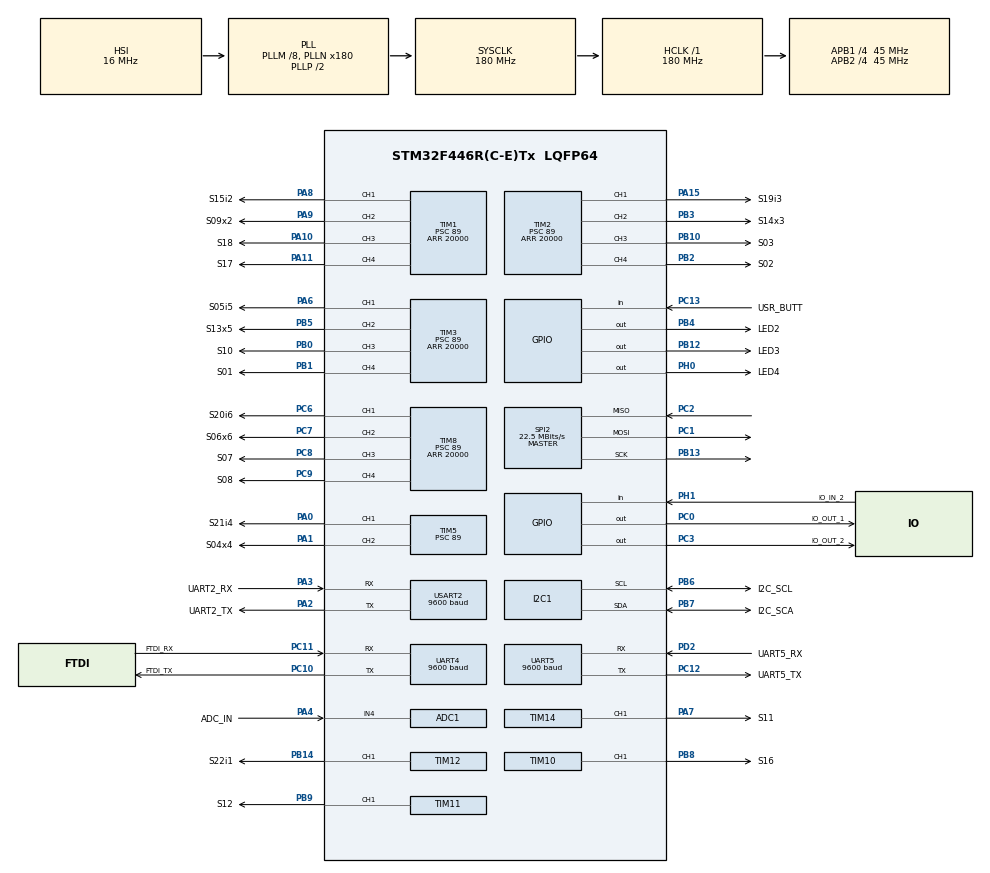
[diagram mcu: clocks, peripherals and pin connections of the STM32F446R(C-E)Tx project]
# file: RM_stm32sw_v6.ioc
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ADC1.Channel-0\#ChannelRegularConversion=ADC_CHANNEL_4
ADC1.NbrOfConversionFlag=1
ADC1.Rank-0\#ChannelRegularConversion=1
ADC1.SamplingTime-0\#ChannelRegularConversion=ADC_SAMPLETIME_3CYCLES
ADC1.master=1
Dma.Request0=USART2_RX
Dma.Request1=USART2_TX
Dma.Request2=UART4_RX
Dma.Request3=UART4_TX
Dma.Request4=UART5_RX
Dma.Request5=UART5_TX
Dma.Request6=SPI2_RX
Dma.SPI2_RX.6.Direction=DMA_PERIPH_TO_MEMORY
Dma.SPI2_RX.6.FIFOMode=DMA_FIFOMODE_DISABLE
Dma.SPI2_RX.6.Instance=DMA1_Stream3
Dma.SPI2_RX.6.MemDataAlignment=DMA_MDATAALIGN_BYTE
Dma.SPI2_RX.6.MemInc=DMA_MINC_ENABLE
Dma.SPI2_RX.6.Mode=DMA_NORMAL
Dma.SPI2_RX.6.PeriphDataAlignment=DMA_PDATAALIGN_BYTE
Dma.SPI2_RX.6.PeriphInc=DMA_PINC_DISABLE
Dma.SPI2_RX.6.Priority=DMA_PRIORITY_LOW
Dma.UART4_RX.2.Direction=DMA_PERIPH_TO_MEMORY
Dma.UART4_RX.2.FIFOMode=DMA_FIFOMODE_DISABLE
Dma.UART4_RX.2.Instance=DMA1_Stream2
Dma.UART4_RX.2.MemDataAlignment=DMA_MDATAALIGN_BYTE
Dma.UART4_RX.2.MemInc=DMA_MINC_ENABLE
Dma.UART4_RX.2.Mode=DMA_NORMAL
Dma.UART4_RX.2.PeriphDataAlignment=DMA_PDATAALIGN_BYTE
Dma.UART4_RX.2.PeriphInc=DMA_PINC_DISABLE
Dma.UART4_RX.2.Priority=DMA_PRIORITY_LOW
Dma.UART4_TX.3.Direction=DMA_MEMORY_TO_PERIPH
Dma.UART4_TX.3.FIFOMode=DMA_FIFOMODE_DISABLE
Dma.UART4_TX.3.Instance=DMA1_Stream4
Dma.UART4_TX.3.MemDataAlignment=DMA_MDATAALIGN_BYTE
Dma.UART4_TX.3.MemInc=DMA_MINC_ENABLE
Dma.UART4_TX.3.Mode=DMA_NORMAL
Dma.UART4_TX.3.PeriphDataAlignment=DMA_PDATAALIGN_BYTE
Dma.UART4_TX.3.PeriphInc=DMA_PINC_DISABLE
Dma.UART4_TX.3.Priority=DMA_PRIORITY_LOW
Dma.UART5_RX.4.Direction=DMA_PERIPH_TO_MEMORY
Dma.UART5_RX.4.FIFOMode=DMA_FIFOMODE_DISABLE
Dma.UART5_RX.4.Instance=DMA1_Stream0
Dma.UART5_RX.4.MemDataAlignment=DMA_MDATAALIGN_BYTE
Dma.UART5_RX.4.MemInc=DMA_MINC_ENABLE
Dma.UART5_RX.4.Mode=DMA_NORMAL
Dma.UART5_RX.4.PeriphDataAlignment=DMA_PDATAALIGN_BYTE
Dma.UART5_RX.4.PeriphInc=DMA_PINC_DISABLE
Dma.UART5_RX.4.Priority=DMA_PRIORITY_LOW
Dma.UART5_TX.5.Direction=DMA_MEMORY_TO_PERIPH
Dma.UART5_TX.5.FIFOMode=DMA_FIFOMODE_DISABLE
Dma.UART5_TX.5.Instance=DMA1_Stream7
Dma.UART5_TX.5.MemDataAlignment=DMA_MDATAALIGN_BYTE
Dma.UART5_TX.5.MemInc=DMA_MINC_ENABLE
Dma.UART5_TX.5.Mode=DMA_NORMAL
Dma.UART5_TX.5.PeriphDataAlignment=DMA_PDATAALIGN_BYTE
Dma.UART5_TX.5.PeriphInc=DMA_PINC_DISABLE
Dma.UART5_TX.5.Priority=DMA_PRIORITY_LOW
Dma.USART2_RX.0.Direction=DMA_PERIPH_TO_MEMORY
Dma.USART2_RX.0.FIFOMode=DMA_FIFOMODE_DISABLE
Dma.USART2_RX.0.Instance=DMA1_Stream5
Dma.USART2_RX.0.MemDataAlignment=DMA_MDATAALIGN_BYTE
Dma.USART2_RX.0.MemInc=DMA_MINC_ENABLE
Dma.USART2_RX.0.Mode=DMA_NORMAL
Dma.USART2_RX.0.PeriphDataAlignment=DMA_PDATAALIGN_BYTE
Dma.USART2_RX.0.PeriphInc=DMA_PINC_DISABLE
Dma.USART2_RX.0.Priority=DMA_PRIORITY_LOW
Dma.USART2_TX.1.Direction=DMA_MEMORY_TO_PERIPH
Dma.USART2_TX.1.FIFOMode=DMA_FIFOMODE_DISABLE
Dma.USART2_TX.1.Instance=DMA1_Stream6
Dma.USART2_TX.1.MemDataAlignment=DMA_MDATAALIGN_BYTE
Dma.USART2_TX.1.MemInc=DMA_MINC_ENABLE
Dma.USART2_TX.1.Mode=DMA_NORMAL
Dma.USART2_TX.1.PeriphDataAlignment=DMA_PDATAALIGN_BYTE
Dma.USART2_TX.1.PeriphInc=DMA_PINC_DISABLE
Dma.USART2_TX.1.Priority=DMA_PRIORITY_LOW
Mcu.Family=STM32F4
Mcu.Name=STM32F446R(C-E)Tx
Mcu.Package=LQFP64
NVIC.DMA1_Stream0_IRQn=true\:0\:0\:false\:false\:true\:false\:true
NVIC.DMA1_Stream2_IRQn=true\:0\:0\:false\:false\:true\:false\:true
NVIC.DMA1_Stream3_IRQn=true\:0\:0\:false\:false\:true\:false\:true
NVIC.DMA1_Stream4_IRQn=true\:0\:0\:false\:false\:true\:false\:true
NVIC.DMA1_Stream5_IRQn=true\:0\:0\:false\:false\:true\:false\:true
NVIC.DMA1_Stream6_IRQn=true\:0\:0\:false\:false\:true\:false\:true
NVIC.DMA1_Stream7_IRQn=true\:0\:0\:false\:false\:true\:false\:true
NVIC.PriorityGroup=NVIC_PRIORITYGROUP_4
NVIC.TIM8_UP_TIM13_IRQn=true\:0\:0\:false\:false\:true\:true\:true
NVIC.UART4_IRQn=true\:0\:0\:false\:false\:true\:true\:true
NVIC.USART2_IRQn=true\:0\:0\:false\:false\:true\:true\:true
PA0-WKUP.GPIO_Label=S21i4
PA0-WKUP.Signal=S_TIM5_CH1
PA1.GPIO_Label=S04x4
PA1.Signal=S_TIM5_CH2
PA10.GPIO_Label=S18
PA10.Signal=S_TIM1_CH3
PA11.GPIO_Label=S17
PA11.Signal=S_TIM1_CH4
PA13.GPIO_Label=SWDIO
PA13.Mode=Serial_Wire
PA13.Signal=SYS_JTMS-SWDIO
PA14.GPIO_Label=SWCLK
PA14.Mode=Serial_Wire
PA14.Signal=SYS_JTCK-SWCLK
PA15.GPIO_Label=S19i3
PA15.Signal=S_TIM2_CH1_ETR
PA2.GPIO_Label=UART2_TX
PA2.Mode=Asynchronous
PA2.Signal=USART2_TX
PA3.GPIO_Label=UART2_RX
PA3.Mode=Asynchronous
PA3.Signal=USART2_RX
PA4.GPIO_Label=ADC_IN
PA4.Signal=SharedAnalog_PA4
PA6.GPIO_Label=S05i5
PA6.Signal=S_TIM3_CH1
PA7.GPIO_Label=S11
PA7.Signal=S_TIM14_CH1
PA8.GPIO_Label=S15i2
PA8.Signal=S_TIM1_CH1
PA9.GPIO_Label=S09x2
PA9.Signal=S_TIM1_CH2
PB0.GPIO_Label=S10
PB0.Signal=S_TIM3_CH3
PB1.GPIO_Label=S01
PB1.Signal=S_TIM3_CH4
PB10.GPIO_Label=S03
PB10.Signal=S_TIM2_CH3
PB12.GPIO_Label=LED3
PB12.Signal=GPIO_Output
PB13.Mode=Full_Duplex_Master
PB13.Signal=SPI2_SCK
PB14.GPIO_Label=S22i1
PB14.Signal=S_TIM12_CH1
PB2.GPIO_Label=S02
PB2.Signal=S_TIM2_CH4
PB3.GPIO_Label=S14x3
PB3.Signal=S_TIM2_CH2
PB4.GPIO_Label=LED2
PB4.Signal=GPIO_Output
PB5.GPIO_Label=S13x5
PB5.Signal=S_TIM3_CH2
PB6.GPIO_Label=I2C_SCL
PB6.Mode=I2C
PB6.Signal=I2C1_SCL
PB7.GPIO_Label=I2C_SCA
PB7.Mode=I2C
PB7.Signal=I2C1_SDA
PB8.GPIO_Label=S16
PB8.Signal=S_TIM10_CH1
PB9.GPIO_Label=S12
PB9.Signal=S_TIM11_CH1
PC0.GPIO_Label=IO_OUT_1
PC0.Signal=GPIO_Output
PC1.Mode=Full_Duplex_Master
PC1.Signal=SPI2_MOSI
PC10.GPIO_Label=FTDI_TX
PC10.Mode=Asynchronous
PC10.Signal=UART4_TX
PC11.GPIO_Label=FTDI_RX
PC11.Mode=Asynchronous
PC11.Signal=UART4_RX
PC12.GPIO_Label=UART5_TX
PC12.Mode=Asynchronous
PC12.Signal=UART5_TX
PC13.GPIO_Label=USR_BUTT
PC13.Signal=GPIO_Input
PC14-OSC32_IN.GPIO_Label=OSC_IN
PC14-OSC32_IN.Signal=RCC_OSC32_IN
PC15-OSC32_OUT.GPIO_Label=OSC_OUT
PC15-OSC32_OUT.Signal=RCC_OSC32_OUT
PC2.Mode=Full_Duplex_Master
PC2.Signal=SPI2_MISO
PC3.GPIO_Label=IO_OUT_2
PC3.Signal=GPIO_Output
PC6.GPIO_Label=S20i6
PC6.Signal=S_TIM8_CH1
PC7.GPIO_Label=S06x6
PC7.Signal=S_TIM8_CH2
PC8.GPIO_Label=S07
PC8.Signal=S_TIM8_CH3
PC9.GPIO_Label=S08
PC9.Signal=S_TIM8_CH4
PD2.GPIO_Label=UART5_RX
PD2.Mode=Asynchronous
PD2.Signal=UART5_RX
PH0-OSC_IN.GPIO_Label=LED4
PH0-OSC_IN.Signal=GPIO_Output
PH1-OSC_OUT.GPIO_Label=IO_IN_2
PH1-OSC_OUT.Signal=GPIO_Input
ProjectManager.HeapSize=0x200
ProjectManager.StackSize=0x400
ProjectManager.TargetToolchain=TrueSTUDIO
RCC.AHBFreq_Value=180000000
RCC.APB1CLKDivider=RCC_HCLK_DIV4
RCC.APB1Freq_Value=45000000
RCC.APB1TimFreq_Value=90000000
RCC.APB2CLKDivider=RCC_HCLK_DIV4
RCC.APB2Freq_Value=45000000
RCC.APB2TimFreq_Value=90000000
RCC.CortexFreq_Value=180000000
RCC.HCLKFreq_Value=180000000
RCC.PLLM=8
RCC.PLLN=180
RCC.SYSCLKFreq_VALUE=180000000
RCC.SYSCLKSource=RCC_SYSCLKSOURCE_PLLCLK
RCC.USBFreq_Value=180000000
RCC.VCOOutputFreq_Value=360000000
SH.S_TIM10_CH1.0=TIM10_CH1,PWM Generation1 CH1
SH.S_TIM11_CH1.0=TIM11_CH1,PWM Generation1 CH1
SH.S_TIM12_CH1.0=TIM12_CH1,PWM Generation1 CH1
SH.S_TIM14_CH1.0=TIM14_CH1,PWM Generation1 CH1
SH.S_TIM1_CH1.0=TIM1_CH1,PWM Generation1 CH1
SH.S_TIM1_CH2.0=TIM1_CH2,PWM Generation2 CH2
SH.S_TIM1_CH3.0=TIM1_CH3,PWM Generation3 CH3
SH.S_TIM1_CH4.0=TIM1_CH4,PWM Generation4 CH4
SH.S_TIM2_CH1_ETR.0=TIM2_CH1,PWM Generation1 CH1
SH.S_TIM2_CH2.0=TIM2_CH2,PWM Generation2 CH2
SH.S_TIM2_CH3.0=TIM2_CH3,PWM Generation3 CH3
SH.S_TIM2_CH4.0=TIM2_CH4,PWM Generation4 CH4
SH.S_TIM3_CH1.0=TIM3_CH1,PWM Generation1 CH1
SH.S_TIM3_CH2.0=TIM3_CH2,PWM Generation2 CH2
SH.S_TIM3_CH3.0=TIM3_CH3,PWM Generation3 CH3
SH.S_TIM3_CH4.0=TIM3_CH4,PWM Generation4 CH4
SH.S_TIM5_CH1.0=TIM5_CH1,PWM Generation1 CH1
SH.S_TIM5_CH2.0=TIM5_CH2,PWM Generation2 CH2
SH.S_TIM8_CH1.0=TIM8_CH1,PWM Generation1 CH1
SH.S_TIM8_CH2.0=TIM8_CH2,PWM Generation2 CH2
SH.S_TIM8_CH3.0=TIM8_CH3,PWM Generation3 CH3
SH.S_TIM8_CH4.0=TIM8_CH4,PWM Generation4 CH4
SH.SharedAnalog_PA4.0=GPIO_Analog
SH.SharedAnalog_PA4.1=ADC1_IN4,IN4
SPI2.BaudRatePrescaler=SPI_BAUDRATEPRESCALER_2
SPI2.CalculateBaudRate=22.5 MBits/s
SPI2.Direction=SPI_DIRECTION_2LINES
SPI2.Mode=SPI_MODE_MASTER
SPI2.VirtualType=VM_MASTER
TIM1.Channel-PWM\ Generation1\ CH1=TIM_CHANNEL_1
TIM1.Channel-PWM\ Generation2\ CH2=TIM_CHANNEL_2
TIM1.Channel-PWM\ Generation3\ CH3=TIM_CHANNEL_3
TIM1.Channel-PWM\ Generation4\ CH4=TIM_CHANNEL_4
TIM1.Period=20000
TIM1.Prescaler=89
TIM1.Pulse-PWM\ Generation1\ CH1=1500
TIM1.Pulse-PWM\ Generation2\ CH2=1500
TIM1.Pulse-PWM\ Generation3\ CH3=1500
TIM1.Pulse-PWM\ Generation4\ CH4=1500
TIM10.Channel=TIM_CHANNEL_1
TIM10.Period=20000
TIM10.Prescaler=89
TIM10.Pulse=1500
TIM11.Channel=TIM_CHANNEL_1
TIM11.Period=20000
TIM11.Prescaler=89
TIM11.Pulse=1500
TIM12.Channel-PWM\ Generation1\ CH1=TIM_CHANNEL_1
TIM13.Period=20000
TIM13.Prescaler=89
TIM14.Channel=TIM_CHANNEL_1
TIM14.Period=20000
TIM14.Prescaler=89
TIM14.Pulse=1500
TIM2.Channel-PWM\ Generation1\ CH1=TIM_CHANNEL_1
TIM2.Channel-PWM\ Generation2\ CH2=TIM_CHANNEL_2
TIM2.Channel-PWM\ Generation3\ CH3=TIM_CHANNEL_3
TIM2.Channel-PWM\ Generation4\ CH4=TIM_CHANNEL_4
TIM2.Period=20000
TIM2.Prescaler=89
TIM2.Pulse-PWM\ Generation1\ CH1=1500
TIM2.Pulse-PWM\ Generation2\ CH2=1500
TIM2.Pulse-PWM\ Generation3\ CH3=1500
TIM2.Pulse-PWM\ Generation4\ CH4=1500
TIM3.Channel-PWM\ Generation1\ CH1=TIM_CHANNEL_1
TIM3.Channel-PWM\ Generation2\ CH2=TIM_CHANNEL_2
TIM3.Channel-PWM\ Generation3\ CH3=TIM_CHANNEL_3
TIM3.Channel-PWM\ Generation4\ CH4=TIM_CHANNEL_4
TIM3.Period=20000
TIM3.Prescaler=89
TIM3.Pulse-PWM\ Generation1\ CH1=1500
TIM3.Pulse-PWM\ Generation2\ CH2=1500
TIM3.Pulse-PWM\ Generation3\ CH3=1500
TIM3.Pulse-PWM\ Generation4\ CH4=1500
TIM5.Channel-PWM\ Generation1\ CH1=TIM_CHANNEL_1
TIM5.Channel-PWM\ Generation2\ CH2=TIM_CHANNEL_2
TIM5.Period=20000
TIM5.Prescaler=89
TIM5.Pulse-PWM\ Generation1\ CH1=1500
TIM5.Pulse-PWM\ Generation2\ CH2=1500
TIM8.Channel-PWM\ Generation1\ CH1=TIM_CHANNEL_1
TIM8.Channel-PWM\ Generation2\ CH2=TIM_CHANNEL_2
TIM8.Channel-PWM\ Generation3\ CH3=TIM_CHANNEL_3
TIM8.Channel-PWM\ Generation4\ CH4=TIM_CHANNEL_4
TIM8.Period=20000
TIM8.Prescaler=89
TIM8.Pulse-PWM\ Generation1\ CH1=1500
TIM8.Pulse-PWM\ Generation2\ CH2=1500
TIM8.Pulse-PWM\ Generation3\ CH3=1500
TIM8.Pulse-PWM\ Generation4\ CH4=1500
UART4.BaudRate=9600
UART4.VirtualMode=Asynchronous
UART5.BaudRate=9600
UART5.VirtualMode=Asynchronous
USART2.BaudRate=9600
USART2.VirtualMode=VM_ASYNC
VP_RTC_VS_RTC_Activate.Mode=RTC_Enabled
VP_TIM10_VS_ClockSourceINT.Mode=Enable_Timer
VP_TIM11_VS_ClockSourceINT.Mode=Enable_Timer
VP_TIM12_VS_ClockSourceINT.Mode=Internal
VP_TIM13_VS_ClockSourceINT.Mode=Enable_Timer
VP_TIM14_VS_ClockSourceINT.Mode=Enable_Timer
VP_TIM1_VS_ClockSourceINT.Mode=Internal
VP_TIM2_VS_ClockSourceINT.Mode=Internal
VP_TIM3_VS_ClockSourceINT.Mode=Internal
VP_TIM8_VS_ClockSourceINT.Mode=Internal
board=custom

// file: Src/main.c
/* USER CODE BEGIN Header */
/**
  ******************************************************************************
  * @file           : main.c
  * @brief          : Main program body
  ******************************************************************************
  * @attention
  *
  * <h2><center>&copy; Copyright (c) 2020 STMicroelectronics.
  * All rights reserved.</center></h2>
  *
  * This software component is licensed by ST under BSD 3-Clause license,
  * the "License"; You may not use this file except in compliance with the
  * License. You may obtain a copy of the License at:
  *                        opensource.org/licenses/BSD-3-Clause
  *
  ******************************************************************************
  */
/* USER CODE END Header */

#include "main.h"

/* USER CODE BEGIN Includes */
#include <stdio.h>
#include <math.h>
#include "serial.h"
#include "tools.h"
#include "servo.h"
#include "leg.h"
#include "robot.h"
#include <robot_commands.h>
#include "robot_update.h"
/* USER CODE END Includes */

ADC_HandleTypeDef hadc1;

I2C_HandleTypeDef hi2c1;

RTC_HandleTypeDef hrtc;

SPI_HandleTypeDef hspi2;
DMA_HandleTypeDef hdma_spi2_rx;

TIM_HandleTypeDef htim1;
TIM_HandleTypeDef htim2;
TIM_HandleTypeDef htim3;
TIM_HandleTypeDef htim5;
TIM_HandleTypeDef htim8;
TIM_HandleTypeDef htim10;
TIM_HandleTypeDef htim11;
TIM_HandleTypeDef htim12;
TIM_HandleTypeDef htim13;
TIM_HandleTypeDef htim14;

UART_HandleTypeDef huart4;
UART_HandleTypeDef huart5;
UART_HandleTypeDef huart2;
DMA_HandleTypeDef hdma_uart4_rx;
DMA_HandleTypeDef hdma_uart4_tx;
DMA_HandleTypeDef hdma_uart5_rx;
DMA_HandleTypeDef hdma_uart5_tx;
DMA_HandleTypeDef hdma_usart2_rx;
DMA_HandleTypeDef hdma_usart2_tx;

/* USER CODE BEGIN PV */
HAL_Serial_Handler CMD_hserial;
HAL_LineBuffer_Handler CMD_hlinebuffer;

/* USER CODE END PV */

void SystemClock_Config(void);
static void MX_GPIO_Init(void);
static void MX_DMA_Init(void);
static void MX_ADC1_Init(void);
static void MX_I2C1_Init(void);
static void MX_RTC_Init(void);
static void MX_SPI2_Init(void);
static void MX_TIM1_Init(void);
static void MX_TIM2_Init(void);
static void MX_TIM3_Init(void);
static void MX_TIM5_Init(void);
static void MX_TIM8_Init(void);
static void MX_TIM10_Init(void);
static void MX_TIM11_Init(void);
static void MX_TIM12_Init(void);
static void MX_TIM14_Init(void);
static void MX_UART4_Init(void);
static void MX_UART5_Init(void);
static void MX_USART2_UART_Init(void);
static void MX_TIM13_Init(void);

/******************************************************************************
  * @brief  The application entry point.
  * @retval int
  */
int main(void)
{
  /* USER CODE BEGIN 1 */
  int i,j;
  int len;
  char cmd_line[64];
  char outbuf[64];

  /* USER CODE END 1 */

  /* MCU Configuration--------------------------------------------------------*/

  /* Reset of all peripherals, Initializes the Flash interface and the Systick. */
  HAL_Init();

  /* Configure the system clock */
  SystemClock_Config();

  /* Initialize all configured peripherals */
  MX_GPIO_Init();
  MX_DMA_Init();
  MX_ADC1_Init();
  MX_I2C1_Init();
  MX_RTC_Init();
  MX_SPI2_Init();
  MX_TIM1_Init();
  MX_TIM2_Init();
  MX_TIM3_Init();
  MX_TIM5_Init();
  MX_TIM8_Init();
  MX_TIM10_Init();
  MX_TIM11_Init();
  MX_TIM12_Init();
  MX_TIM14_Init();
  MX_UART4_Init();
  MX_UART5_Init();
  MX_USART2_UART_Init();
  MX_TIM13_Init();
  /* USER CODE BEGIN 2 */

  LedSwitch(2, 0);
  LedSwitch(3, 0);
  LedSwitch(4, 0);

  // uart4 = FTDI
  // uart2 = BT
  HAL_Serial_Init(&huart2, &CMD_hserial);
  HAL_LineBuffer_Init(&CMD_hlinebuffer, &CMD_hserial);

  Robot_Init();
  robot.debug_hserial=&CMD_hserial; // serial handler for debug messages

  HAL_Serial_Print(&CMD_hserial, "****************** Init done\n");

  HAL_TIM_Base_Start(&htim1);
  HAL_TIM_Base_Start(&htim2);
  HAL_TIM_Base_Start(&htim3);
  HAL_TIM_Base_Start(&htim5);
  HAL_TIM_Base_Start(&htim8);
  HAL_TIM_Base_Start(&htim10);
  HAL_TIM_Base_Start(&htim11);
  HAL_TIM_Base_Start(&htim14);

  HAL_TIM_Base_Start_IT(&htim13);

//  Robot_Unfold(); // activate servo pulse and unfold legs

  HAL_Serial_Print(robot.debug_hserial, "Ax=%f\n", robot.mech_Ax);
  HAL_Serial_Print(robot.debug_hserial, "Bx=%f By=%f\n", robot.mech_Bx, robot.mech_By);
  HAL_Serial_Print(robot.debug_hserial, "Gx=%f Gy=%f\n", robot.mech_Gx, robot.mech_Gy);
  HAL_Serial_Print(robot.debug_hserial, "Cycletravel_x=%f\n", robot.cycletravel_x);
  HAL_Serial_Print(robot.debug_hserial, "Leg[0] %s : x=%f, y=%f, z=%f\n", robot.hlegs[0]->label, robot.hlegs[0]->current_x, robot.hlegs[0]->current_y, robot.hlegs[0]->current_z);
  HAL_Serial_Print(robot.debug_hserial, "Leg[1] %s : x=%f, y=%f, z=%f\n", robot.hlegs[1]->label, robot.hlegs[1]->current_x, robot.hlegs[1]->current_y, robot.hlegs[1]->current_z);
  HAL_Serial_Print(robot.debug_hserial, "Leg[2] %s : x=%f, y=%f, z=%f\n", robot.hlegs[2]->label, robot.hlegs[2]->current_x, robot.hlegs[2]->current_y, robot.hlegs[2]->current_z);
  HAL_Serial_Print(robot.debug_hserial, "Leg[2] %s : x=%f, y=%f, z=%f\n", robot.hlegs[3]->label, robot.hlegs[3]->current_x, robot.hlegs[3]->current_y, robot.hlegs[3]->current_z);
  HAL_Serial_Print(robot.debug_hserial, "Curv_max=%f\n", robot.mech_curv_max);

  i=0;
  robot.state=FOLDED;

  /* USER CODE END 2 */

  /* Infinite loop */
  /* USER CODE BEGIN WHILE */
  while (1)
  {
    //Robot_Update();
    //* Check USR button ************************
    if(HAL_GPIO_ReadPin(USR_BUTT_GPIO_Port,USR_BUTT_Pin)==GPIO_PIN_RESET)
    {
      while(HAL_GPIO_ReadPin(USR_BUTT_GPIO_Port,USR_BUTT_Pin)==GPIO_PIN_RESET)
      {
        // wait until button release
      }
      HAL_Delay(100);
      Robot_ButtonPushed();
      HAL_Serial_Print(&CMD_hserial, "%s\n", Robot_GetState());
    }

    //* Read commands *****************
    if((len=HAL_LineBuffer_Read(&CMD_hlinebuffer, cmd_line, sizeof(cmd_line))) > 0)
    {
      HAL_Serial_Write(CMD_hlinebuffer.hserial, (uint8_t*)outbuf, sprintf(outbuf, "<%s>\n", cmd_line));
      // interpret command
      Robot_ReadCommand(CMD_hlinebuffer.hserial, cmd_line);
      HAL_Serial_Print(&CMD_hserial, "%s\n", Robot_GetState());
    }

    HAL_Delay(200);
    HAL_GPIO_TogglePin(LED2_GPIO_Port, LED2_Pin);
    i++;
    if(i>=5)
    {
      //HAL_Serial_Print(robot.debug_hserial, "Robot state=%s speed=%d curv=%d\n", Robot_GetState(), (int)robot.current_speed, (int)(robot.current_curv*1000000));
      if(robot.state == RUNNING)
      {
        HAL_Serial_Print(robot.debug_hserial, "Return leg %s\n", robot.hlegs[ROBOT_NBLEGS-1]->label);
        HAL_Serial_Print(robot.debug_hserial, "Leg[0] : %s x=%f, y=%f, z=%f\n", robot.hlegs_rtab[0]->label, robot.hlegs_rtab[0]->current_x, robot.hlegs_rtab[0]->current_y, robot.hlegs_rtab[0]->current_z);
        HAL_Serial_Print(robot.debug_hserial, "Leg[1] : %s x=%f, y=%f, z=%f\n", robot.hlegs_rtab[1]->label, robot.hlegs_rtab[1]->current_x, robot.hlegs_rtab[1]->current_y, robot.hlegs_rtab[1]->current_z);
        HAL_Serial_Print(robot.debug_hserial, "Leg[2] : %s x=%f, y=%f, z=%f\n", robot.hlegs_rtab[2]->label, robot.hlegs_rtab[2]->current_x, robot.hlegs_rtab[2]->current_y, robot.hlegs_rtab[2]->current_z);
        HAL_Serial_Print(robot.debug_hserial, "Leg[3] : %s x=%f, y=%f, z=%f\n", robot.hlegs_rtab[3]->label, robot.hlegs_rtab[3]->current_x, robot.hlegs_rtab[3]->current_y, robot.hlegs_rtab[3]->current_z);
        HAL_Serial_Print(robot.debug_hserial, "Dr=%f\n", robot.mech_Bx-robot.hlegs[ROBOT_NBLEGS-2]->current_x);
        HAL_Serial_Print(robot.debug_hserial, "d=%f\n", robot.current_speed*SERVO_PULSE_PERIOD);
        HAL_Serial_Print(robot.debug_hserial, "Total steps %d\n", robot.steps_before_return);
        HAL_Serial_Print(robot.debug_hserial, "Remaining steps %d\n", robot.remsteps_before_return);
        // DEBUG 200521 : watch returning leg height
        HAL_Serial_Print(robot.debug_hserial, "ret leg height %f\n", robot.ret_dz);

      }
      i=0;
    }
    /* USER CODE END WHILE */

  }
}

void SystemClock_Config(void)
{
  RCC_OscInitTypeDef RCC_OscInitStruct = {0};
  RCC_ClkInitTypeDef RCC_ClkInitStruct = {0};
  RCC_PeriphCLKInitTypeDef PeriphClkInitStruct = {0};

  /** Configure the main internal regulator output voltage
  */
  __HAL_RCC_PWR_CLK_ENABLE();
  __HAL_PWR_VOLTAGESCALING_CONFIG(PWR_REGULATOR_VOLTAGE_SCALE1);
  /** Initializes the CPU, AHB and APB busses clocks
  */
  RCC_OscInitStruct.OscillatorType = RCC_OSCILLATORTYPE_HSI|RCC_OSCILLATORTYPE_LSI;
  RCC_OscInitStruct.LSEState = RCC_LSE_OFF;
  RCC_OscInitStruct.HSIState = RCC_HSI_ON;
  RCC_OscInitStruct.HSICalibrationValue = RCC_HSICALIBRATION_DEFAULT;
  RCC_OscInitStruct.LSIState = RCC_LSI_ON;
  RCC_OscInitStruct.PLL.PLLState = RCC_PLL_ON;
  RCC_OscInitStruct.PLL.PLLSource = RCC_PLLSOURCE_HSI;
  RCC_OscInitStruct.PLL.PLLM = 8;
  RCC_OscInitStruct.PLL.PLLN = 180;
  RCC_OscInitStruct.PLL.PLLP = RCC_PLLP_DIV2;
  RCC_OscInitStruct.PLL.PLLQ = 2;
  RCC_OscInitStruct.PLL.PLLR = 2;
  if (HAL_RCC_OscConfig(&RCC_OscInitStruct) != HAL_OK)
  {
    Error_Handler();
  }
  /** Activate the Over-Drive mode
  */
  if (HAL_PWREx_EnableOverDrive() != HAL_OK)
  {
    Error_Handler();
  }
  /** Initializes the CPU, AHB and APB busses clocks
  */
  RCC_ClkInitStruct.ClockType = RCC_CLOCKTYPE_HCLK|RCC_CLOCKTYPE_SYSCLK
                              |RCC_CLOCKTYPE_PCLK1|RCC_CLOCKTYPE_PCLK2;
  RCC_ClkInitStruct.SYSCLKSource = RCC_SYSCLKSOURCE_PLLCLK;
  RCC_ClkInitStruct.AHBCLKDivider = RCC_SYSCLK_DIV1;
  RCC_ClkInitStruct.APB1CLKDivider = RCC_HCLK_DIV4;
  RCC_ClkInitStruct.APB2CLKDivider = RCC_HCLK_DIV4;

  if (HAL_RCC_ClockConfig(&RCC_ClkInitStruct, FLASH_LATENCY_5) != HAL_OK)
  {
    Error_Handler();
  }
  PeriphClkInitStruct.PeriphClockSelection = RCC_PERIPHCLK_RTC;
  PeriphClkInitStruct.RTCClockSelection = RCC_RTCCLKSOURCE_LSI;
  if (HAL_RCCEx_PeriphCLKConfig(&PeriphClkInitStruct) != HAL_OK)
  {
    Error_Handler();
  }
}

static void MX_ADC1_Init(void)
{

  ADC_ChannelConfTypeDef sConfig = {0};

  /** Configure the global features of the ADC (Clock, Resolution, Data Alignment and number of conversion)
  */
  hadc1.Instance = ADC1;
  hadc1.Init.ClockPrescaler = ADC_CLOCK_SYNC_PCLK_DIV2;
  hadc1.Init.Resolution = ADC_RESOLUTION_12B;
  hadc1.Init.ScanConvMode = DISABLE;
  hadc1.Init.ContinuousConvMode = DISABLE;
  hadc1.Init.DiscontinuousConvMode = DISABLE;
  hadc1.Init.ExternalTrigConvEdge = ADC_EXTERNALTRIGCONVEDGE_NONE;
  hadc1.Init.ExternalTrigConv = ADC_SOFTWARE_START;
  hadc1.Init.DataAlign = ADC_DATAALIGN_RIGHT;
  hadc1.Init.NbrOfConversion = 1;
  hadc1.Init.DMAContinuousRequests = DISABLE;
  hadc1.Init.EOCSelection = ADC_EOC_SINGLE_CONV;
  if (HAL_ADC_Init(&hadc1) != HAL_OK)
  {
    Error_Handler();
  }
  /** Configure for the selected ADC regular channel its corresponding rank in the sequencer and its sample time.
  */
  sConfig.Channel = ADC_CHANNEL_4;
  sConfig.Rank = 1;
  sConfig.SamplingTime = ADC_SAMPLETIME_3CYCLES;
  if (HAL_ADC_ConfigChannel(&hadc1, &sConfig) != HAL_OK)
  {
    Error_Handler();
  }

}

static void MX_I2C1_Init(void)
{

  hi2c1.Instance = I2C1;
  hi2c1.Init.ClockSpeed = 100000;
  hi2c1.Init.DutyCycle = I2C_DUTYCYCLE_2;
  hi2c1.Init.OwnAddress1 = 0;
  hi2c1.Init.AddressingMode = I2C_ADDRESSINGMODE_7BIT;
  hi2c1.Init.DualAddressMode = I2C_DUALADDRESS_DISABLE;
  hi2c1.Init.OwnAddress2 = 0;
  hi2c1.Init.GeneralCallMode = I2C_GENERALCALL_DISABLE;
  hi2c1.Init.NoStretchMode = I2C_NOSTRETCH_DISABLE;
  if (HAL_I2C_Init(&hi2c1) != HAL_OK)
  {
    Error_Handler();
  }

}

static void MX_RTC_Init(void)
{

  /** Initialize RTC Only
  */
  hrtc.Instance = RTC;
  hrtc.Init.HourFormat = RTC_HOURFORMAT_24;
  hrtc.Init.AsynchPrediv = 127;
  hrtc.Init.SynchPrediv = 255;
  hrtc.Init.OutPut = RTC_OUTPUT_DISABLE;
  hrtc.Init.OutPutPolarity = RTC_OUTPUT_POLARITY_HIGH;
  hrtc.Init.OutPutType = RTC_OUTPUT_TYPE_OPENDRAIN;
  if (HAL_RTC_Init(&hrtc) != HAL_OK)
  {
    Error_Handler();
  }

}

static void MX_SPI2_Init(void)
{

  /* SPI2 parameter configuration*/
  hspi2.Instance = SPI2;
  hspi2.Init.Mode = SPI_MODE_MASTER;
  hspi2.Init.Direction = SPI_DIRECTION_2LINES;
  hspi2.Init.DataSize = SPI_DATASIZE_8BIT;
  hspi2.Init.CLKPolarity = SPI_POLARITY_LOW;
  hspi2.Init.CLKPhase = SPI_PHASE_1EDGE;
  hspi2.Init.NSS = SPI_NSS_SOFT;
  hspi2.Init.BaudRatePrescaler = SPI_BAUDRATEPRESCALER_2;
  hspi2.Init.FirstBit = SPI_FIRSTBIT_MSB;
  hspi2.Init.TIMode = SPI_TIMODE_DISABLE;
  hspi2.Init.CRCCalculation = SPI_CRCCALCULATION_DISABLE;
  hspi2.Init.CRCPolynomial = 10;
  if (HAL_SPI_Init(&hspi2) != HAL_OK)
  {
    Error_Handler();
  }

}

static void MX_TIM1_Init(void)
{

  TIM_ClockConfigTypeDef sClockSourceConfig = {0};
  TIM_MasterConfigTypeDef sMasterConfig = {0};
  TIM_OC_InitTypeDef sConfigOC = {0};
  TIM_BreakDeadTimeConfigTypeDef sBreakDeadTimeConfig = {0};

  htim1.Instance = TIM1;
  htim1.Init.Prescaler = 89;
  htim1.Init.CounterMode = TIM_COUNTERMODE_UP;
  htim1.Init.Period = 20000;
  htim1.Init.ClockDivision = TIM_CLOCKDIVISION_DIV1;
  htim1.Init.RepetitionCounter = 0;
  htim1.Init.AutoReloadPreload = TIM_AUTORELOAD_PRELOAD_DISABLE;
  if (HAL_TIM_Base_Init(&htim1) != HAL_OK)
  {
    Error_Handler();
  }
  sClockSourceConfig.ClockSource = TIM_CLOCKSOURCE_INTERNAL;
  if (HAL_TIM_ConfigClockSource(&htim1, &sClockSourceConfig) != HAL_OK)
  {
    Error_Handler();
  }
  if (HAL_TIM_PWM_Init(&htim1) != HAL_OK)
  {
    Error_Handler();
  }
  sMasterConfig.MasterOutputTrigger = TIM_TRGO_RESET;
  sMasterConfig.MasterSlaveMode = TIM_MASTERSLAVEMODE_DISABLE;
  if (HAL_TIMEx_MasterConfigSynchronization(&htim1, &sMasterConfig) != HAL_OK)
  {
    Error_Handler();
  }
  sConfigOC.OCMode = TIM_OCMODE_PWM1;
  sConfigOC.Pulse = 1500;
  sConfigOC.OCPolarity = TIM_OCPOLARITY_HIGH;
  sConfigOC.OCNPolarity = TIM_OCNPOLARITY_HIGH;
  sConfigOC.OCFastMode = TIM_OCFAST_DISABLE;
  sConfigOC.OCIdleState = TIM_OCIDLESTATE_RESET;
  sConfigOC.OCNIdleState = TIM_OCNIDLESTATE_RESET;
  if (HAL_TIM_PWM_ConfigChannel(&htim1, &sConfigOC, TIM_CHANNEL_1) != HAL_OK)
  {
    Error_Handler();
  }
  if (HAL_TIM_PWM_ConfigChannel(&htim1, &sConfigOC, TIM_CHANNEL_2) != HAL_OK)
  {
    Error_Handler();
  }
  if (HAL_TIM_PWM_ConfigChannel(&htim1, &sConfigOC, TIM_CHANNEL_3) != HAL_OK)
  {
    Error_Handler();
  }
  if (HAL_TIM_PWM_ConfigChannel(&htim1, &sConfigOC, TIM_CHANNEL_4) != HAL_OK)
  {
    Error_Handler();
  }
  sBreakDeadTimeConfig.OffStateRunMode = TIM_OSSR_DISABLE;
  sBreakDeadTimeConfig.OffStateIDLEMode = TIM_OSSI_DISABLE;
  sBreakDeadTimeConfig.LockLevel = TIM_LOCKLEVEL_OFF;
  sBreakDeadTimeConfig.DeadTime = 0;
  sBreakDeadTimeConfig.BreakState = TIM_BREAK_DISABLE;
  sBreakDeadTimeConfig.BreakPolarity = TIM_BREAKPOLARITY_HIGH;
  sBreakDeadTimeConfig.AutomaticOutput = TIM_AUTOMATICOUTPUT_DISABLE;
  if (HAL_TIMEx_ConfigBreakDeadTime(&htim1, &sBreakDeadTimeConfig) != HAL_OK)
  {
    Error_Handler();
  }
  HAL_TIM_MspPostInit(&htim1);

}

static void MX_TIM2_Init(void)
{

  TIM_ClockConfigTypeDef sClockSourceConfig = {0};
  TIM_MasterConfigTypeDef sMasterConfig = {0};
  TIM_OC_InitTypeDef sConfigOC = {0};

  htim2.Instance = TIM2;
  htim2.Init.Prescaler = 89;
  htim2.Init.CounterMode = TIM_COUNTERMODE_UP;
  htim2.Init.Period = 20000;
  htim2.Init.ClockDivision = TIM_CLOCKDIVISION_DIV1;
  htim2.Init.AutoReloadPreload = TIM_AUTORELOAD_PRELOAD_DISABLE;
  if (HAL_TIM_Base_Init(&htim2) != HAL_OK)
  {
    Error_Handler();
  }
  sClockSourceConfig.ClockSource = TIM_CLOCKSOURCE_INTERNAL;
  if (HAL_TIM_ConfigClockSource(&htim2, &sClockSourceConfig) != HAL_OK)
  {
    Error_Handler();
  }
  if (HAL_TIM_PWM_Init(&htim2) != HAL_OK)
  {
    Error_Handler();
  }
  sMasterConfig.MasterOutputTrigger = TIM_TRGO_RESET;
  sMasterConfig.MasterSlaveMode = TIM_MASTERSLAVEMODE_DISABLE;
  if (HAL_TIMEx_MasterConfigSynchronization(&htim2, &sMasterConfig) != HAL_OK)
  {
    Error_Handler();
  }
  sConfigOC.OCMode = TIM_OCMODE_PWM1;
  sConfigOC.Pulse = 1500;
  sConfigOC.OCPolarity = TIM_OCPOLARITY_HIGH;
  sConfigOC.OCFastMode = TIM_OCFAST_DISABLE;
  if (HAL_TIM_PWM_ConfigChannel(&htim2, &sConfigOC, TIM_CHANNEL_1) != HAL_OK)
  {
    Error_Handler();
  }
  if (HAL_TIM_PWM_ConfigChannel(&htim2, &sConfigOC, TIM_CHANNEL_2) != HAL_OK)
  {
    Error_Handler();
  }
  if (HAL_TIM_PWM_ConfigChannel(&htim2, &sConfigOC, TIM_CHANNEL_3) != HAL_OK)
  {
    Error_Handler();
  }
  if (HAL_TIM_PWM_ConfigChannel(&htim2, &sConfigOC, TIM_CHANNEL_4) != HAL_OK)
  {
    Error_Handler();
  }
  HAL_TIM_MspPostInit(&htim2);

}

static void MX_TIM3_Init(void)
{

  TIM_ClockConfigTypeDef sClockSourceConfig = {0};
  TIM_MasterConfigTypeDef sMasterConfig = {0};
  TIM_OC_InitTypeDef sConfigOC = {0};

  htim3.Instance = TIM3;
  htim3.Init.Prescaler = 89;
  htim3.Init.CounterMode = TIM_COUNTERMODE_UP;
  htim3.Init.Period = 20000;
  htim3.Init.ClockDivision = TIM_CLOCKDIVISION_DIV1;
  htim3.Init.AutoReloadPreload = TIM_AUTORELOAD_PRELOAD_DISABLE;
  if (HAL_TIM_Base_Init(&htim3) != HAL_OK)
  {
    Error_Handler();
  }
  sClockSourceConfig.ClockSource = TIM_CLOCKSOURCE_INTERNAL;
  if (HAL_TIM_ConfigClockSource(&htim3, &sClockSourceConfig) != HAL_OK)
  {
    Error_Handler();
  }
  if (HAL_TIM_PWM_Init(&htim3) != HAL_OK)
  {
    Error_Handler();
  }
  sMasterConfig.MasterOutputTrigger = TIM_TRGO_RESET;
  sMasterConfig.MasterSlaveMode = TIM_MASTERSLAVEMODE_DISABLE;
  if (HAL_TIMEx_MasterConfigSynchronization(&htim3, &sMasterConfig) != HAL_OK)
  {
    Error_Handler();
  }
  sConfigOC.OCMode = TIM_OCMODE_PWM1;
  sConfigOC.Pulse = 1500;
  sConfigOC.OCPolarity = TIM_OCPOLARITY_HIGH;
  sConfigOC.OCFastMode = TIM_OCFAST_DISABLE;
  if (HAL_TIM_PWM_ConfigChannel(&htim3, &sConfigOC, TIM_CHANNEL_1) != HAL_OK)
  {
    Error_Handler();
  }
  if (HAL_TIM_PWM_ConfigChannel(&htim3, &sConfigOC, TIM_CHANNEL_2) != HAL_OK)
  {
    Error_Handler();
  }
  if (HAL_TIM_PWM_ConfigChannel(&htim3, &sConfigOC, TIM_CHANNEL_3) != HAL_OK)
  {
    Error_Handler();
  }
  if (HAL_TIM_PWM_ConfigChannel(&htim3, &sConfigOC, TIM_CHANNEL_4) != HAL_OK)
  {
    Error_Handler();
  }
  HAL_TIM_MspPostInit(&htim3);

}

static void MX_TIM5_Init(void)
{

  TIM_MasterConfigTypeDef sMasterConfig = {0};
  TIM_OC_InitTypeDef sConfigOC = {0};

  htim5.Instance = TIM5;
  htim5.Init.Prescaler = 89;
  htim5.Init.CounterMode = TIM_COUNTERMODE_UP;
  htim5.Init.Period = 20000;
  htim5.Init.ClockDivision = TIM_CLOCKDIVISION_DIV1;
  htim5.Init.AutoReloadPreload = TIM_AUTORELOAD_PRELOAD_DISABLE;
  if (HAL_TIM_PWM_Init(&htim5) != HAL_OK)
  {
    Error_Handler();
  }
  sMasterConfig.MasterOutputTrigger = TIM_TRGO_RESET;
  sMasterConfig.MasterSlaveMode = TIM_MASTERSLAVEMODE_DISABLE;
  if (HAL_TIMEx_MasterConfigSynchronization(&htim5, &sMasterConfig) != HAL_OK)
  {
    Error_Handler();
  }
  sConfigOC.OCMode = TIM_OCMODE_PWM1;
  sConfigOC.Pulse = 1500;
  sConfigOC.OCPolarity = TIM_OCPOLARITY_HIGH;
  sConfigOC.OCFastMode = TIM_OCFAST_DISABLE;
  if (HAL_TIM_PWM_ConfigChannel(&htim5, &sConfigOC, TIM_CHANNEL_1) != HAL_OK)
  {
    Error_Handler();
  }
  if (HAL_TIM_PWM_ConfigChannel(&htim5, &sConfigOC, TIM_CHANNEL_2) != HAL_OK)
  {
    Error_Handler();
  }
  HAL_TIM_MspPostInit(&htim5);

}

static void MX_TIM8_Init(void)
{

  TIM_ClockConfigTypeDef sClockSourceConfig = {0};
  TIM_MasterConfigTypeDef sMasterConfig = {0};
  TIM_OC_InitTypeDef sConfigOC = {0};
  TIM_BreakDeadTimeConfigTypeDef sBreakDeadTimeConfig = {0};

  htim8.Instance = TIM8;
  htim8.Init.Prescaler = 89;
  htim8.Init.CounterMode = TIM_COUNTERMODE_UP;
  htim8.Init.Period = 20000;
  htim8.Init.ClockDivision = TIM_CLOCKDIVISION_DIV1;
  htim8.Init.RepetitionCounter = 0;
  htim8.Init.AutoReloadPreload = TIM_AUTORELOAD_PRELOAD_DISABLE;
  if (HAL_TIM_Base_Init(&htim8) != HAL_OK)
  {
    Error_Handler();
  }
  sClockSourceConfig.ClockSource = TIM_CLOCKSOURCE_INTERNAL;
  if (HAL_TIM_ConfigClockSource(&htim8, &sClockSourceConfig) != HAL_OK)
  {
    Error_Handler();
  }
  if (HAL_TIM_PWM_Init(&htim8) != HAL_OK)
  {
    Error_Handler();
  }
  sMasterConfig.MasterOutputTrigger = TIM_TRGO_RESET;
  sMasterConfig.MasterSlaveMode = TIM_MASTERSLAVEMODE_DISABLE;
  if (HAL_TIMEx_MasterConfigSynchronization(&htim8, &sMasterConfig) != HAL_OK)
  {
    Error_Handler();
  }
  sConfigOC.OCMode = TIM_OCMODE_PWM1;
  sConfigOC.Pulse = 1500;
  sConfigOC.OCPolarity = TIM_OCPOLARITY_HIGH;
  sConfigOC.OCNPolarity = TIM_OCNPOLARITY_HIGH;
  sConfigOC.OCFastMode = TIM_OCFAST_DISABLE;
  sConfigOC.OCIdleState = TIM_OCIDLESTATE_RESET;
  sConfigOC.OCNIdleState = TIM_OCNIDLESTATE_RESET;
  if (HAL_TIM_PWM_ConfigChannel(&htim8, &sConfigOC, TIM_CHANNEL_1) != HAL_OK)
  {
    Error_Handler();
  }
  if (HAL_TIM_PWM_ConfigChannel(&htim8, &sConfigOC, TIM_CHANNEL_2) != HAL_OK)
  {
    Error_Handler();
  }
  if (HAL_TIM_PWM_ConfigChannel(&htim8, &sConfigOC, TIM_CHANNEL_3) != HAL_OK)
  {
    Error_Handler();
  }
  if (HAL_TIM_PWM_ConfigChannel(&htim8, &sConfigOC, TIM_CHANNEL_4) != HAL_OK)
  {
    Error_Handler();
  }
  sBreakDeadTimeConfig.OffStateRunMode = TIM_OSSR_DISABLE;
  sBreakDeadTimeConfig.OffStateIDLEMode = TIM_OSSI_DISABLE;
  sBreakDeadTimeConfig.LockLevel = TIM_LOCKLEVEL_OFF;
  sBreakDeadTimeConfig.DeadTime = 0;
  sBreakDeadTimeConfig.BreakState = TIM_BREAK_DISABLE;
  sBreakDeadTimeConfig.BreakPolarity = TIM_BREAKPOLARITY_HIGH;
  sBreakDeadTimeConfig.AutomaticOutput = TIM_AUTOMATICOUTPUT_DISABLE;
  if (HAL_TIMEx_ConfigBreakDeadTime(&htim8, &sBreakDeadTimeConfig) != HAL_OK)
  {
    Error_Handler();
  }
  HAL_TIM_MspPostInit(&htim8);

}

static void MX_TIM10_Init(void)
{

  TIM_OC_InitTypeDef sConfigOC = {0};

  htim10.Instance = TIM10;
  htim10.Init.Prescaler = 89;
  htim10.Init.CounterMode = TIM_COUNTERMODE_UP;
  htim10.Init.Period = 20000;
  htim10.Init.ClockDivision = TIM_CLOCKDIVISION_DIV1;
  htim10.Init.AutoReloadPreload = TIM_AUTORELOAD_PRELOAD_DISABLE;
  if (HAL_TIM_Base_Init(&htim10) != HAL_OK)
  {
    Error_Handler();
  }
  if (HAL_TIM_PWM_Init(&htim10) != HAL_OK)
  {
    Error_Handler();
  }
  sConfigOC.OCMode = TIM_OCMODE_PWM1;
  sConfigOC.Pulse = 1500;
  sConfigOC.OCPolarity = TIM_OCPOLARITY_HIGH;
  sConfigOC.OCFastMode = TIM_OCFAST_DISABLE;
  if (HAL_TIM_PWM_ConfigChannel(&htim10, &sConfigOC, TIM_CHANNEL_1) != HAL_OK)
  {
    Error_Handler();
  }
  HAL_TIM_MspPostInit(&htim10);

}

static void MX_TIM11_Init(void)
{

  TIM_OC_InitTypeDef sConfigOC = {0};

  htim11.Instance = TIM11;
  htim11.Init.Prescaler = 89;
  htim11.Init.CounterMode = TIM_COUNTERMODE_UP;
  htim11.Init.Period = 20000;
  htim11.Init.ClockDivision = TIM_CLOCKDIVISION_DIV1;
  htim11.Init.AutoReloadPreload = TIM_AUTORELOAD_PRELOAD_DISABLE;
  if (HAL_TIM_Base_Init(&htim11) != HAL_OK)
  {
    Error_Handler();
  }
  if (HAL_TIM_PWM_Init(&htim11) != HAL_OK)
  {
    Error_Handler();
  }
  sConfigOC.OCMode = TIM_OCMODE_PWM1;
  sConfigOC.Pulse = 1500;
  sConfigOC.OCPolarity = TIM_OCPOLARITY_HIGH;
  sConfigOC.OCFastMode = TIM_OCFAST_DISABLE;
  if (HAL_TIM_PWM_ConfigChannel(&htim11, &sConfigOC, TIM_CHANNEL_1) != HAL_OK)
  {
    Error_Handler();
  }
  HAL_TIM_MspPostInit(&htim11);

}

static void MX_TIM12_Init(void)
{

  TIM_ClockConfigTypeDef sClockSourceConfig = {0};
  TIM_OC_InitTypeDef sConfigOC = {0};

  htim12.Instance = TIM12;
  htim12.Init.Prescaler = 0;
  htim12.Init.CounterMode = TIM_COUNTERMODE_UP;
  htim12.Init.Period = 0;
  htim12.Init.ClockDivision = TIM_CLOCKDIVISION_DIV1;
  htim12.Init.AutoReloadPreload = TIM_AUTORELOAD_PRELOAD_DISABLE;
  if (HAL_TIM_Base_Init(&htim12) != HAL_OK)
  {
    Error_Handler();
  }
  sClockSourceConfig.ClockSource = TIM_CLOCKSOURCE_INTERNAL;
  if (HAL_TIM_ConfigClockSource(&htim12, &sClockSourceConfig) != HAL_OK)
  {
    Error_Handler();
  }
  if (HAL_TIM_PWM_Init(&htim12) != HAL_OK)
  {
    Error_Handler();
  }
  sConfigOC.OCMode = TIM_OCMODE_PWM1;
  sConfigOC.Pulse = 0;
  sConfigOC.OCPolarity = TIM_OCPOLARITY_HIGH;
  sConfigOC.OCFastMode = TIM_OCFAST_DISABLE;
  if (HAL_TIM_PWM_ConfigChannel(&htim12, &sConfigOC, TIM_CHANNEL_1) != HAL_OK)
  {
    Error_Handler();
  }
  HAL_TIM_MspPostInit(&htim12);

}

static void MX_TIM13_Init(void)
{

  htim13.Instance = TIM13;
  htim13.Init.Prescaler = 89;
  htim13.Init.CounterMode = TIM_COUNTERMODE_UP;
  htim13.Init.Period = 20000;
  htim13.Init.ClockDivision = TIM_CLOCKDIVISION_DIV1;
  htim13.Init.AutoReloadPreload = TIM_AUTORELOAD_PRELOAD_DISABLE;
  if (HAL_TIM_Base_Init(&htim13) != HAL_OK)
  {
    Error_Handler();
  }

}

static void MX_TIM14_Init(void)
{

  TIM_OC_InitTypeDef sConfigOC = {0};

  htim14.Instance = TIM14;
  htim14.Init.Prescaler = 89;
  htim14.Init.CounterMode = TIM_COUNTERMODE_UP;
  htim14.Init.Period = 20000;
  htim14.Init.ClockDivision = TIM_CLOCKDIVISION_DIV1;
  htim14.Init.AutoReloadPreload = TIM_AUTORELOAD_PRELOAD_DISABLE;
  if (HAL_TIM_Base_Init(&htim14) != HAL_OK)
  {
    Error_Handler();
  }
  if (HAL_TIM_PWM_Init(&htim14) != HAL_OK)
  {
    Error_Handler();
  }
  sConfigOC.OCMode = TIM_OCMODE_PWM1;
  sConfigOC.Pulse = 1500;
  sConfigOC.OCPolarity = TIM_OCPOLARITY_HIGH;
  sConfigOC.OCFastMode = TIM_OCFAST_DISABLE;
  if (HAL_TIM_PWM_ConfigChannel(&htim14, &sConfigOC, TIM_CHANNEL_1) != HAL_OK)
  {
    Error_Handler();
  }
  HAL_TIM_MspPostInit(&htim14);

}

static void MX_UART4_Init(void)
{

  huart4.Instance = UART4;
  huart4.Init.BaudRate = 9600;
  huart4.Init.WordLength = UART_WORDLENGTH_8B;
  huart4.Init.StopBits = UART_STOPBITS_1;
  huart4.Init.Parity = UART_PARITY_NONE;
  huart4.Init.Mode = UART_MODE_TX_RX;
  huart4.Init.HwFlowCtl = UART_HWCONTROL_NONE;
  huart4.Init.OverSampling = UART_OVERSAMPLING_16;
  if (HAL_UART_Init(&huart4) != HAL_OK)
  {
    Error_Handler();
  }

}

static void MX_UART5_Init(void)
{

  huart5.Instance = UART5;
  huart5.Init.BaudRate = 9600;
  huart5.Init.WordLength = UART_WORDLENGTH_8B;
  huart5.Init.StopBits = UART_STOPBITS_1;
  huart5.Init.Parity = UART_PARITY_NONE;
  huart5.Init.Mode = UART_MODE_TX_RX;
  huart5.Init.HwFlowCtl = UART_HWCONTROL_NONE;
  huart5.Init.OverSampling = UART_OVERSAMPLING_16;
  if (HAL_UART_Init(&huart5) != HAL_OK)
  {
    Error_Handler();
  }

}

static void MX_USART2_UART_Init(void)
{

  huart2.Instance = USART2;
  huart2.Init.BaudRate = 9600;
  huart2.Init.WordLength = UART_WORDLENGTH_8B;
  huart2.Init.StopBits = UART_STOPBITS_1;
  huart2.Init.Parity = UART_PARITY_NONE;
  huart2.Init.Mode = UART_MODE_TX_RX;
  huart2.Init.HwFlowCtl = UART_HWCONTROL_NONE;
  huart2.Init.OverSampling = UART_OVERSAMPLING_16;
  if (HAL_UART_Init(&huart2) != HAL_OK)
  {
    Error_Handler();
  }

}

static void MX_DMA_Init(void)
{

  /* DMA controller clock enable */
  __HAL_RCC_DMA1_CLK_ENABLE();

  /* DMA interrupt init */
  /* DMA1_Stream0_IRQn interrupt configuration */
  HAL_NVIC_SetPriority(DMA1_Stream0_IRQn, 0, 0);
  HAL_NVIC_EnableIRQ(DMA1_Stream0_IRQn);
  /* DMA1_Stream2_IRQn interrupt configuration */
  HAL_NVIC_SetPriority(DMA1_Stream2_IRQn, 0, 0);
  HAL_NVIC_EnableIRQ(DMA1_Stream2_IRQn);
  /* DMA1_Stream3_IRQn interrupt configuration */
  HAL_NVIC_SetPriority(DMA1_Stream3_IRQn, 0, 0);
  HAL_NVIC_EnableIRQ(DMA1_Stream3_IRQn);
  /* DMA1_Stream4_IRQn interrupt configuration */
  HAL_NVIC_SetPriority(DMA1_Stream4_IRQn, 0, 0);
  HAL_NVIC_EnableIRQ(DMA1_Stream4_IRQn);
  /* DMA1_Stream5_IRQn interrupt configuration */
  HAL_NVIC_SetPriority(DMA1_Stream5_IRQn, 0, 0);
  HAL_NVIC_EnableIRQ(DMA1_Stream5_IRQn);
  /* DMA1_Stream6_IRQn interrupt configuration */
  HAL_NVIC_SetPriority(DMA1_Stream6_IRQn, 0, 0);
  HAL_NVIC_EnableIRQ(DMA1_Stream6_IRQn);
  /* DMA1_Stream7_IRQn interrupt configuration */
  HAL_NVIC_SetPriority(DMA1_Stream7_IRQn, 0, 0);
  HAL_NVIC_EnableIRQ(DMA1_Stream7_IRQn);

}

static void MX_GPIO_Init(void)
{
  GPIO_InitTypeDef GPIO_InitStruct = {0};

  /* GPIO Ports Clock Enable */
  __HAL_RCC_GPIOC_CLK_ENABLE();
  __HAL_RCC_GPIOH_CLK_ENABLE();
  __HAL_RCC_GPIOA_CLK_ENABLE();
  __HAL_RCC_GPIOB_CLK_ENABLE();
  __HAL_RCC_GPIOD_CLK_ENABLE();

  /*Configure GPIO pin Output Level */
  HAL_GPIO_WritePin(LED4_GPIO_Port, LED4_Pin, GPIO_PIN_RESET);

  /*Configure GPIO pin Output Level */
  HAL_GPIO_WritePin(GPIOC, IO_OUT_1_Pin|IO_OUT_2_Pin, GPIO_PIN_RESET);

  /*Configure GPIO pin Output Level */
  HAL_GPIO_WritePin(GPIOB, LED3_Pin|LED2_Pin, GPIO_PIN_RESET);

  /*Configure GPIO pin : USR_BUTT_Pin */
  GPIO_InitStruct.Pin = USR_BUTT_Pin;
  GPIO_InitStruct.Mode = GPIO_MODE_INPUT;
  GPIO_InitStruct.Pull = GPIO_NOPULL;
  HAL_GPIO_Init(USR_BUTT_GPIO_Port, &GPIO_InitStruct);

  /*Configure GPIO pin : LED4_Pin */
  GPIO_InitStruct.Pin = LED4_Pin;
  GPIO_InitStruct.Mode = GPIO_MODE_OUTPUT_PP;
  GPIO_InitStruct.Pull = GPIO_NOPULL;
  GPIO_InitStruct.Speed = GPIO_SPEED_FREQ_LOW;
  HAL_GPIO_Init(LED4_GPIO_Port, &GPIO_InitStruct);

  /*Configure GPIO pin : IO_IN_2_Pin */
  GPIO_InitStruct.Pin = IO_IN_2_Pin;
  GPIO_InitStruct.Mode = GPIO_MODE_INPUT;
  GPIO_InitStruct.Pull = GPIO_NOPULL;
  HAL_GPIO_Init(IO_IN_2_GPIO_Port, &GPIO_InitStruct);

  /*Configure GPIO pins : IO_OUT_1_Pin IO_OUT_2_Pin */
  GPIO_InitStruct.Pin = IO_OUT_1_Pin|IO_OUT_2_Pin;
  GPIO_InitStruct.Mode = GPIO_MODE_OUTPUT_PP;
  GPIO_InitStruct.Pull = GPIO_NOPULL;
  GPIO_InitStruct.Speed = GPIO_SPEED_FREQ_LOW;
  HAL_GPIO_Init(GPIOC, &GPIO_InitStruct);

  /*Configure GPIO pin : ADC_IN_Pin */
  GPIO_InitStruct.Pin = ADC_IN_Pin;
  GPIO_InitStruct.Mode = GPIO_MODE_ANALOG;
  GPIO_InitStruct.Pull = GPIO_NOPULL;
  HAL_GPIO_Init(ADC_IN_GPIO_Port, &GPIO_InitStruct);

  /*Configure GPIO pins : LED3_Pin LED2_Pin */
  GPIO_InitStruct.Pin = LED3_Pin|LED2_Pin;
  GPIO_InitStruct.Mode = GPIO_MODE_OUTPUT_PP;
  GPIO_InitStruct.Pull = GPIO_NOPULL;
  GPIO_InitStruct.Speed = GPIO_SPEED_FREQ_LOW;
  HAL_GPIO_Init(GPIOB, &GPIO_InitStruct);

}

/* USER CODE BEGIN 4 */

/******************************************************************************
  * @brief  Period elapsed callback in non blocking mode
  * @param  htim: TIM handle
  * @retval None
  */
void HAL_TIM_PeriodElapsedCallback(TIM_HandleTypeDef *htim)
{
  if (htim->Instance == htim13.Instance) {
    // Robot update function
    Robot_Update();
  }
}

/* USER CODE END 4 */

void Error_Handler(void)
{
}

/************************ (C) COPYRIGHT STMicroelectronics *****END OF FILE****/
